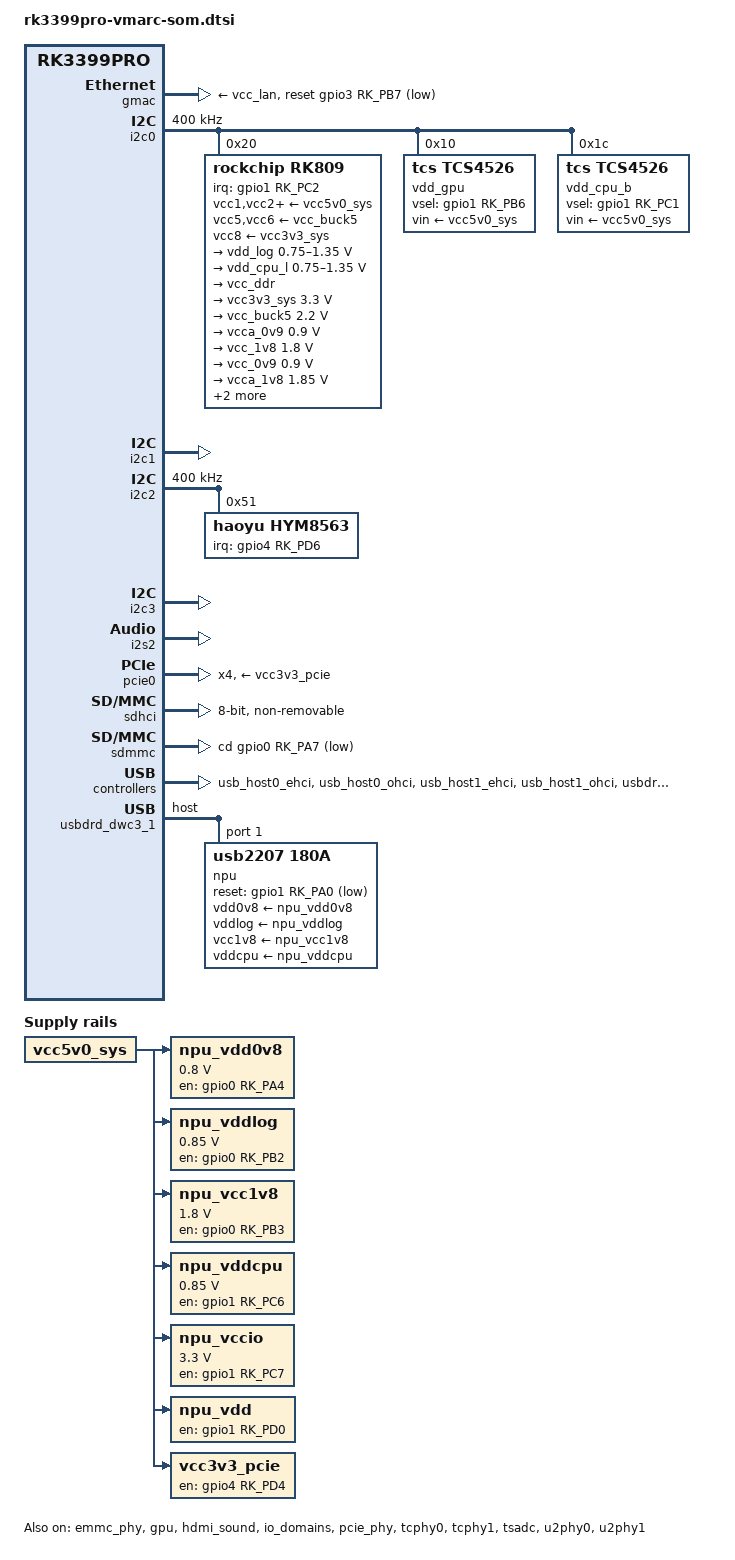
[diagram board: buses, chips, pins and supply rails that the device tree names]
// SPDX-License-Identifier: (GPL-2.0+ OR MIT)
/*
 * Copyright (c) 2019 Fuzhou Rockchip Electronics Co., Ltd
 * Copyright (c) 2019 Vamrs Limited
 * Copyright (c) 2019 Amarula Solutions(India)
 */

#include <dt-bindings/clock/rk3399-cru.h>
#include <dt-bindings/gpio/gpio.h>
#include <dt-bindings/pinctrl/rockchip.h>
#include <dt-bindings/pwm/pwm.h>

/ {
	compatible = "vamrs,rk3399pro-vmarc-som", "rockchip,rk3399pro";

	aliases {
		ethernet0 = &gmac;
		mmc0 = &sdhci;
		mmc1 = &sdmmc;
	};

	npu_vdd0v8: regulator-npu-vdd0v8 {
		compatible = "regulator-fixed";
		enable-active-high;
		gpio = <&gpio0 RK_PA4 GPIO_ACTIVE_HIGH>;
		pinctrl-names = "default";
		pinctrl-0 = <&npu_vdd0v8_h>;
		regulator-name = "npu_vdd_0v8_s0";
		regulator-min-microvolt = <800000>;
		regulator-max-microvolt = <800000>;
		vin-supply = <&vcc5v0_sys>;
	};

	npu_vddlog: regulator-npu-vddlog {
		compatible = "regulator-fixed";
		enable-active-high;
		gpio = <&gpio0 RK_PB2 GPIO_ACTIVE_HIGH>;
		pinctrl-names = "default";
		pinctrl-0 = <&npu_vddlog_h>;
		regulator-name = "npu_vdd_log_s0";
		regulator-min-microvolt = <850000>;
		regulator-max-microvolt = <850000>;
		vin-supply = <&vcc5v0_sys>;
	};

	/* NPU_PWREN_3 also enables NPU_VCC_DDR_S3 through NPU_PWREN_H3 */
	npu_vcc1v8: regulator-npu-vcc1v8 {
		compatible = "regulator-fixed";
		enable-active-high;
		gpio = <&gpio0 RK_PB3 GPIO_ACTIVE_HIGH>;
		pinctrl-names = "default";
		pinctrl-0 = <&npu_vcc1v8_h>;
		regulator-name = "npu_vcc_1v8_s3";
		regulator-min-microvolt = <1800000>;
		regulator-max-microvolt = <1800000>;
		vin-supply = <&vcc5v0_sys>;
	};

	npu_vddcpu: regulator-npu-vddcpu {
		compatible = "regulator-fixed";
		enable-active-high;
		gpio = <&gpio1 RK_PC6 GPIO_ACTIVE_HIGH>;
		pinctrl-names = "default";
		pinctrl-0 = <&npu_vddcpu_h>;
		regulator-name = "npu_vdd_cpu_s0";
		regulator-min-microvolt = <850000>;
		regulator-max-microvolt = <850000>;
		vin-supply = <&vcc5v0_sys>;
	};

	npu_vccio: regulator-npu-vccio {
		compatible = "regulator-fixed";
		enable-active-high;
		gpio = <&gpio1 RK_PC7 GPIO_ACTIVE_HIGH>;
		pinctrl-names = "default";
		pinctrl-0 = <&npu_vccio_h>;
		regulator-name = "npu_vccio_3v3_s3";
		regulator-min-microvolt = <3300000>;
		regulator-max-microvolt = <3300000>;
		vin-supply = <&vcc5v0_sys>;
	};

	/* tcs4525; the rk1808 sets its own voltage over the npu's i2c1 */
	npu_vdd: regulator-npu-vdd {
		compatible = "regulator-fixed";
		enable-active-high;
		gpio = <&gpio1 RK_PD0 GPIO_ACTIVE_HIGH>;
		pinctrl-names = "default";
		pinctrl-0 = <&npu_vdd_h>;
		regulator-name = "npu_vdd_s0";
		vin-supply = <&vcc5v0_sys>;
	};

	vcc3v3_pcie: regulator-vcc-pcie {
		compatible = "regulator-fixed";
		enable-active-high;
		gpio = <&gpio4 RK_PD4 GPIO_ACTIVE_HIGH>;
		pinctrl-names = "default";
		pinctrl-0 = <&pcie_pwr>;
		regulator-name = "vcc3v3_pcie";
		regulator-always-on;
		regulator-boot-on;
		vin-supply = <&vcc5v0_sys>;
	};
};

&cpu_l0 {
	cpu-supply = <&vdd_cpu_l>;
};

&cpu_l1 {
	cpu-supply = <&vdd_cpu_l>;
};

&cpu_l2 {
	cpu-supply = <&vdd_cpu_l>;
};

&cpu_l3 {
	cpu-supply = <&vdd_cpu_l>;
};

&bluetooth {
	device-wakeup-gpios = <&gpio2 RK_PD2 GPIO_ACTIVE_HIGH>;
	host-wakeup-gpios = <&gpio0 RK_PA5 GPIO_ACTIVE_HIGH>;
	shutdown-gpios = <&gpio2 RK_PD4 GPIO_ACTIVE_HIGH>;
	pinctrl-names = "default";
	pinctrl-0 = <&bt_host_wake_l &bt_wake_l &bt_enable_h>;
};

&cpu_b0 {
	cpu-supply = <&vdd_cpu_b>;
};

&cpu_b1 {
	cpu-supply = <&vdd_cpu_b>;
};

&emmc_phy {
	status = "okay";
};

&gmac {
	assigned-clocks = <&cru SCLK_RMII_SRC>;
	phy-supply = <&vcc_lan>;
	snps,reset-gpio = <&gpio3 RK_PB7 GPIO_ACTIVE_LOW>;
};

&gpu {
	mali-supply = <&vdd_gpu>;
	status = "okay";
};

&hdmi {
	avdd-0v9-supply = <&vcca_0v9>;
	avdd-1v8-supply = <&vcca_1v8>;
	ddc-i2c-bus = <&i2c3>;
	pinctrl-names = "default";
	pinctrl-0 = <&hdmi_cec>;
};

&hdmi_sound {
	status = "okay";
};

&i2c0 {
	clock-frequency = <400000>;
	i2c-scl-falling-time-ns = <30>;
	i2c-scl-rising-time-ns = <180>;
	status = "okay";

	rk809: pmic@20 {
		compatible = "rockchip,rk809";
		reg = <0x20>;
		interrupt-parent = <&gpio1>;
		interrupts = <RK_PC2 IRQ_TYPE_LEVEL_LOW>;
		#clock-cells = <1>;
		clock-output-names = "rk808-clkout1", "rk808-clkout2";
		pinctrl-names = "default";
		pinctrl-0 = <&pmic_int_l>;
		system-power-controller;
		wakeup-source;

		vcc1-supply = <&vcc5v0_sys>;
		vcc2-supply = <&vcc5v0_sys>;
		vcc3-supply = <&vcc5v0_sys>;
		vcc4-supply = <&vcc5v0_sys>;
		vcc5-supply = <&vcc_buck5>;
		vcc6-supply = <&vcc_buck5>;
		vcc7-supply = <&vcc5v0_sys>;
		vcc8-supply = <&vcc3v3_sys>;
		vcc9-supply = <&vcc5v0_sys>;

		regulators {
			vdd_log: DCDC_REG1 {
				regulator-name = "vdd_log";
				regulator-always-on;
				regulator-boot-on;
				regulator-min-microvolt = <750000>;
				regulator-max-microvolt = <1350000>;
				regulator-initial-mode = <0x2>;
				regulator-state-mem {
					regulator-off-in-suspend;
					regulator-suspend-microvolt = <900000>;
				};
			};

			vdd_cpu_l: DCDC_REG2 {
				regulator-name = "vdd_cpu_l";
				regulator-always-on;
				regulator-boot-on;
				regulator-min-microvolt = <750000>;
				regulator-max-microvolt = <1350000>;
				regulator-ramp-delay = <6001>;
				regulator-initial-mode = <0x2>;
				regulator-state-mem {
					regulator-off-in-suspend;
				};
			};

			vcc_ddr: DCDC_REG3 {
				regulator-name = "vcc_ddr";
				regulator-always-on;
				regulator-boot-on;
				regulator-initial-mode = <0x2>;
				regulator-state-mem {
					regulator-on-in-suspend;
				};
			};

			vcc3v3_sys: DCDC_REG4 {
				regulator-name = "vcc3v3_sys";
				regulator-always-on;
				regulator-boot-on;
				regulator-min-microvolt = <3300000>;
				regulator-max-microvolt = <3300000>;
				regulator-initial-mode = <0x2>;
				regulator-state-mem {
					regulator-on-in-suspend;
					regulator-suspend-microvolt = <3300000>;
				};
			};

			vcc_buck5: DCDC_REG5 {
				regulator-name = "vcc_buck5";
				regulator-always-on;
				regulator-boot-on;
				regulator-min-microvolt = <2200000>;
				regulator-max-microvolt = <2200000>;
				regulator-state-mem {
					regulator-on-in-suspend;
					regulator-suspend-microvolt = <2200000>;
				};
			};

			vcca_0v9: LDO_REG1 {
				regulator-name = "vcca_0v9";
				regulator-always-on;
				regulator-boot-on;
				regulator-min-microvolt = <900000>;
				regulator-max-microvolt = <900000>;
				regulator-state-mem {
					regulator-on-in-suspend;
					regulator-suspend-microvolt = <900000>;
				};
			};

			vcc_1v8: LDO_REG2 {
				regulator-name = "vcc_1v8";
				regulator-always-on;
				regulator-boot-on;
				regulator-min-microvolt = <1800000>;
				regulator-max-microvolt = <1800000>;
				regulator-state-mem {
					regulator-on-in-suspend;
					regulator-suspend-microvolt = <1800000>;
				};
			};

			vcc_0v9: LDO_REG3 {
				regulator-name = "vcc_0v9";
				regulator-always-on;
				regulator-boot-on;
				regulator-min-microvolt = <900000>;
				regulator-max-microvolt = <900000>;
				regulator-state-mem {
					regulator-on-in-suspend;
					regulator-suspend-microvolt = <900000>;
				};
			};

			vcca_1v8: LDO_REG4 {
				regulator-name = "vcca_1v8";
				regulator-always-on;
				regulator-boot-on;
				regulator-min-microvolt = <1850000>;
				regulator-max-microvolt = <1850000>;
				regulator-state-mem {
					regulator-on-in-suspend;
					regulator-suspend-microvolt = <1850000>;
				};
			};

			/*
			 * As per BSP, but schematic not showing any regulator
			 * pin for LD05.
			 */
			vdd1v5_dvp: LDO_REG5 {
				regulator-name = "vdd1v5_dvp";
				regulator-always-on;
				regulator-boot-on;
				regulator-min-microvolt = <1500000>;
				regulator-max-microvolt = <1500000>;
				regulator-state-mem {
					regulator-off-in-suspend;
				};
			};

			vcc_1v5: LDO_REG6 {
				regulator-name = "vcc_1v5";
				regulator-always-on;
				regulator-boot-on;
				regulator-min-microvolt = <1500000>;
				regulator-max-microvolt = <1500000>;
				regulator-state-mem {
					regulator-off-in-suspend;
				};
			};

			vccio_3v0: LDO_REG7 {
				regulator-name = "vccio_3v0";
				regulator-always-on;
				regulator-boot-on;
				regulator-min-microvolt = <3000000>;
				regulator-max-microvolt = <3000000>;
				regulator-state-mem {
					regulator-off-in-suspend;
				};
			};

			vccio_sd: LDO_REG8 {
				regulator-name = "vccio_sd";
				regulator-always-on;
				regulator-boot-on;
				regulator-min-microvolt = <1800000>;
				regulator-max-microvolt = <3300000>;
				regulator-state-mem {
					regulator-off-in-suspend;
				};
			};

			/*
			 * As per BSP, but schematic not showing any regulator
			 * pin for LD09.
			 */
			vcc_sd: LDO_REG9 {
				regulator-name = "vcc_sd";
				regulator-always-on;
				regulator-boot-on;
				regulator-min-microvolt = <3300000>;
				regulator-max-microvolt = <3300000>;
				regulator-state-mem {
					regulator-off-in-suspend;
				};
			};

			vcc5v0_usb2: SWITCH_REG1 {
				regulator-name = "vcc5v0_usb2";
				regulator-min-microvolt = <5000000>;
				regulator-max-microvolt = <5000000>;
				regulator-state-mem {
					regulator-on-in-suspend;
					regulator-suspend-microvolt = <5000000>;
				};
			};

			vccio_3v3: vcc_lan: SWITCH_REG2 {
				regulator-name = "vccio_3v3";
				regulator-always-on;
				regulator-boot-on;
				regulator-min-microvolt = <3300000>;
				regulator-max-microvolt = <3300000>;
				regulator-state-mem {
					regulator-off-in-suspend;
				};
			};
		};
	};

	vdd_gpu: regulator@10 {
		compatible = "tcs,tcs4526";
		reg = <0x10>;
		fcs,suspend-voltage-selector = <1>;
		pinctrl-names = "default";
		pinctrl-0 = <&vsel2_gpio>;
		regulator-name = "vdd_gpu";
		regulator-always-on;
		regulator-boot-on;
		regulator-min-microvolt = <735000>;
		regulator-max-microvolt = <1400000>;
		regulator-ramp-delay = <1000>;
		vin-supply = <&vcc5v0_sys>;
		vsel-gpios = <&gpio1 RK_PB6 GPIO_ACTIVE_HIGH>;

		regulator-state-mem {
			regulator-off-in-suspend;
		};
	};

	vdd_cpu_b: regulator@1c {
		compatible = "tcs,tcs4526";
		reg = <0x1c>;
		fcs,suspend-voltage-selector = <1>;
		pinctrl-names = "default";
		pinctrl-0 = <&vsel1_gpio>;
		regulator-name = "vdd_cpu_b";
		regulator-always-on;
		regulator-boot-on;
		regulator-min-microvolt = <712500>;
		regulator-max-microvolt = <1500000>;
		regulator-ramp-delay = <2300>;
		vin-supply = <&vcc5v0_sys>;
		vsel-gpios = <&gpio1 RK_PC1 GPIO_ACTIVE_HIGH>;

		regulator-state-mem {
			regulator-off-in-suspend;
		};
	};
};

&i2c1 {
	i2c-scl-falling-time-ns = <30>;
	i2c-scl-rising-time-ns = <140>;
	status = "okay";
};

&i2c2 {
	clock-frequency = <400000>;
	i2c-scl-falling-time-ns = <15>;
	i2c-scl-rising-time-ns = <450>;
	status = "okay";

	hym8563: rtc@51 {
		compatible = "haoyu,hym8563";
		reg = <0x51>;
		#clock-cells = <0>;
		clock-output-names = "hym8563";
		pinctrl-names = "default";
		pinctrl-0 = <&hym8563_int>;
		interrupt-parent = <&gpio4>;
		interrupts = <RK_PD6 IRQ_TYPE_LEVEL_LOW>;
	};
};

&i2c3 {
	i2c-scl-rising-time-ns = <450>;
	i2c-scl-falling-time-ns = <15>;
	status = "okay";
};

&i2s2 {
	status = "okay";
};

&io_domains {
	status = "okay";
	audio-supply = <&vcca_1v8>;
	bt656-supply = <&vcca_1v8>;
	gpio1830-supply = <&vccio_3v0>;
	sdmmc-supply = <&vccio_sd>;
};

&pcie_phy {
	status = "okay";
};

&pcie0 {
	ep-gpios = <&gpio0 RK_PB4 GPIO_ACTIVE_HIGH>;
	num-lanes = <4>;
	pinctrl-0 = <&pcie_clkreqnb_cpm>;
	pinctrl-names = "default";
	vpcie0v9-supply = <&vcca_0v9>;	/* VCC_0V9_S0 */
	vpcie1v8-supply = <&vcca_1v8>;	/* VCC_1V8_S0 */
	vpcie3v3-supply = <&vcc3v3_pcie>;
	status = "okay";
};

&pinctrl {
	pinctrl-names = "default";
	pinctrl-0 = <&npu_ref_clk>;

	bluetooth {
		bt_enable_h: bt-enable-h {
			rockchip,pins = <2 RK_PD4 RK_FUNC_GPIO &pcfg_pull_none>;
		};

		bt_host_wake_l: bt-host-wake-l {
			rockchip,pins = <0 RK_PA5 RK_FUNC_GPIO &pcfg_pull_none>;
		};

		bt_wake_l: bt-wake-l {
			rockchip,pins = <2 RK_PD2 RK_FUNC_GPIO &pcfg_pull_none>;
		};
	};

	hym8563 {
		hym8563_int: hym8563-int {
			rockchip,pins = <4 RK_PD6 0 &pcfg_pull_up>;
		};
	};

	npu {
		npu_ref_clk: npu-ref-clk {
			rockchip,pins = <0 RK_PA2 1 &pcfg_pull_none>;
		};

		npu_vdd0v8_h: npu-vdd0v8-h {
			rockchip,pins = <0 RK_PA4 RK_FUNC_GPIO &pcfg_pull_none>;
		};

		npu_vddlog_h: npu-vddlog-h {
			rockchip,pins = <0 RK_PB2 RK_FUNC_GPIO &pcfg_pull_none>;
		};

		npu_vcc1v8_h: npu-vcc1v8-h {
			rockchip,pins = <0 RK_PB3 RK_FUNC_GPIO &pcfg_pull_none>;
		};

		npu_vddcpu_h: npu-vddcpu-h {
			rockchip,pins = <1 RK_PC6 RK_FUNC_GPIO &pcfg_pull_none>;
		};

		npu_vccio_h: npu-vccio-h {
			rockchip,pins = <1 RK_PC7 RK_FUNC_GPIO &pcfg_pull_none>;
		};

		npu_vdd_h: npu-vdd-h {
			rockchip,pins = <1 RK_PD0 RK_FUNC_GPIO &pcfg_pull_none>;
		};
	};

	pcie {
		pcie_pwr: pcie-pwr {
			rockchip,pins = <4 RK_PD4 RK_FUNC_GPIO &pcfg_pull_up>;
		};
	};

	pmic {
		pmic_int_l: pmic-int-l {
			rockchip,pins = <1 RK_PC2 0 &pcfg_pull_up>;
		};
	};

	sdio-pwrseq {
		wifi_enable_h: wifi-enable-h {
			rockchip,pins = <2 RK_PD3 RK_FUNC_GPIO &pcfg_pull_none>;
		};
	};

	vsel {
		vsel1_gpio: vsel1 {
			rockchip,pins = <1 RK_PC1 RK_FUNC_GPIO &pcfg_pull_down>;
		};

		vsel2_gpio: vsel2 {
			rockchip,pins = <1 RK_PB6 RK_FUNC_GPIO &pcfg_pull_down>;
		};
	};

	vbus_host {
		usb1_en_oc: usb1-en-oc {
			rockchip,pins = <4 RK_PD1 RK_FUNC_GPIO &pcfg_pull_up>;
		};
	};

	vbus_typec {
		usb0_en_oc: usb0-en-oc {
			rockchip,pins = <4 RK_PD2 RK_FUNC_GPIO &pcfg_pull_up>;
		};
	};
};

&pmu_io_domains {
	status = "okay";
	pmu1830-supply = <&vcc_1v8>;
};

&sdio_pwrseq {
	/*
	 * On the module itself this is one of these (depending
	 * on the actual card populated):
	 * - SDIO_RESET_L_WL_REG_ON
	 * - PDN (power down when low)
	 */
	reset-gpios = <&gpio2 RK_PD3 GPIO_ACTIVE_LOW>;
};

&sdhci {
	bus-width = <8>;
	mmc-hs400-1_8v;
	mmc-hs400-enhanced-strobe;
	non-removable;
	status = "okay";
};

&sdmmc {
	cd-gpios = <&gpio0 RK_PA7 GPIO_ACTIVE_LOW>;
	max-frequency = <150000000>;
};

&tcphy0 {
	status = "okay";
};

&tcphy1 {
	status = "okay";
};

&tsadc {
	rockchip,hw-tshut-mode = <1>;
	rockchip,hw-tshut-polarity = <1>;
	status = "okay";
};

&u2phy0 {
	status = "okay";

	u2phy0_otg: otg-port {
		phy-supply = <&vbus_typec>;
		status = "okay";
	};

	u2phy0_host: host-port {
		phy-supply = <&vbus_host>;
		status = "okay";
	};
};


&u2phy1 {
	status = "okay";

	u2phy1_otg: otg-port {
		status = "okay";
	};

	u2phy1_host: host-port {
		phy-supply = <&vbus_host>;
		status = "okay";
	};
};

&usb_host0_ehci {
	status = "okay";
};

&usb_host0_ohci {
	status = "okay";
};

&usb_host1_ehci {
	status = "okay";
};

&usb_host1_ohci {
	status = "okay";
};

&usbdrd3_0 {
	status = "okay";
};

&usbdrd3_1 {
	status = "okay";
};

&usbdrd_dwc3_0 {
	status = "okay";
};

&usbdrd_dwc3_1 {
	dr_mode = "host";
	status = "okay";
	#address-cells = <1>;
	#size-cells = <0>;

	/*
	 * The npu is an rk1808 die in the same package, wired to this
	 * controller rather than to any external port. It will not boot
	 * until its reference clock is running at 24 MHz, and nothing
	 * else in the system claims that clock, so describe the die here
	 * and let the onboard device driver hold it. The rest of the
	 * bring up is a firmware download over usb, left to userspace.
	 */
	npu: device@1 {
		compatible = "usb2207,180a";
		reg = <1>;
		clocks = <&pmucru SCLK_WIFI_PMU>;
		assigned-clocks = <&pmucru SCLK_WIFI_PMU>;
		assigned-clock-rates = <24000000>;
		vdd0v8-supply = <&npu_vdd0v8>;
		vddlog-supply = <&npu_vddlog>;
		vcc1v8-supply = <&npu_vcc1v8>;
		vddcpu-supply = <&npu_vddcpu>;
		vccio-supply = <&npu_vccio>;
		vdd-supply = <&npu_vdd>;
		reset-gpios = <&gpio1 RK_PA0 GPIO_ACTIVE_LOW>;
	};
};

&vbus_host {
	enable-active-high;
	gpio = <&gpio4 RK_PD1 GPIO_ACTIVE_HIGH>; /* USB1_EN_OC# */
	pinctrl-names = "default";
	pinctrl-0 = <&usb1_en_oc>;
};

&vbus_typec {
	enable-active-high;
	gpio = <&gpio4 RK_PD2 GPIO_ACTIVE_HIGH>; /* USB0_EN_OC# */
	pinctrl-names = "default";
	pinctrl-0 = <&usb0_en_oc>;
};
